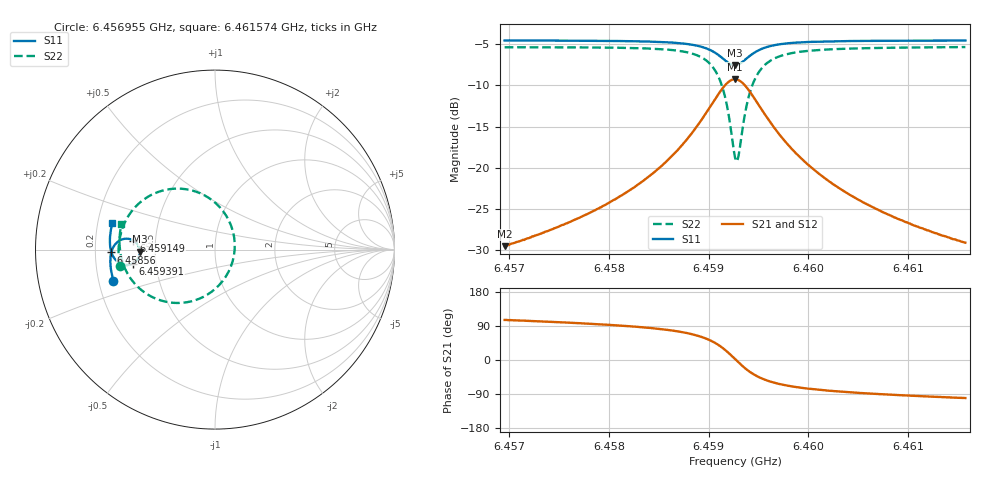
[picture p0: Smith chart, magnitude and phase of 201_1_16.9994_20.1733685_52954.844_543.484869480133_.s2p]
#  HZ  S  RI  R  50.00
! Rohde & Schwarz Vector Network Analyzer
! Rohde-Schwarz,ZNB20-2Port,1311601062101988,3.16
! Created: UTC 3/20/2024, 11:01:03 PM
! freq[Hz]  re:S11  im:S11  re:S21  im:S21  re:S12  im:S12  re:S22  im:S22
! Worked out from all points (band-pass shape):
!   401 points, 6.456955 GHz to 6.461574 GHz, reference 50 ohm
!   highest |S21| = -9.26 dB at 6.459264 GHz (marker M1); lowest = -29.5 dB at 6.456955 GHz (marker M2)
!   |S21| within 3 dB of the highest: 6.459033 GHz to 6.459495 GHz (461.8 kHz wide, 0.00715 % of centre)
!   lowest |S11| = -7.6 dB at 6.459264 GHz (marker M3), VSWR 2.44, Z = 20.5 - j0.611 ohm
!   |S11| at or under -10 dB: nowhere
!   |S22| runs from -19.2 to -5.4 dB; largest |S21 - S12| = 0.013
!   S11 on the Smith chart (normalised r, x): 6.456955 GHz: 0.26, -0.14; 6.45856 GHz: 0.27, -0.01; 6.459149 GHz: 0.37, +0.05; 6.459391 GHz: 0.37, -0.07; 6.461574 GHz: 0.26, +0.12
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6.4569546e9  -0.5656 -0.1751  -0.00901 0.0322  -0.00744 0.0323  -0.5309 -0.0897
6.4577283e9  -0.5801 -0.1076  -0.00596 0.0502  -0.00343 0.0497  -0.5371 0.000451
6.4581556e9  -0.5832 -0.0649  -7.13e-05 0.0697  0.00324 0.0683  -0.5295 0.0681
6.458502e9  -0.5797 -0.0236  0.0137 0.0985  0.0176 0.0959  -0.5048 0.146
6.4585598e9  -0.5779 -0.0157  0.0178 0.1053  0.0219 0.1025  -0.4969 0.1625
6.4587676e9  -0.565 0.0167  0.0452 0.1379  0.0493 0.133  -0.446 0.2355
6.4589177e9  -0.5425 0.0431  0.0902 0.1685  0.0935 0.162  -0.363 0.3004
6.4590563e9  -0.4988 0.0607  0.1772 0.1854  0.1782 0.178  -0.2042 0.3398
6.4591487e9  -0.4542 0.0507  0.2669 0.1546  0.2672 0.1487  -0.038 0.2903
6.459218e9  -0.4252 0.0187  0.3276 0.0832  0.3298 0.0777  0.0774 0.1617
6.4592642e9  -0.4182 -0.0123  0.3441 0.0154  0.3476 0.00844  0.1099 0.0356
6.4592757e9  -0.4186 -0.0202  0.344 -0.00229  0.3477 -0.00986  0.1096 0.00207
6.4592988e9  -0.4222 -0.0358  0.3384 -0.0369  0.3423 -0.0459  0.0987 -0.0634
6.459345e9  -0.4376 -0.0618  0.3102 -0.0966  0.3124 -0.1083  0.0418 -0.1763
6.4593912e9  -0.4596 -0.0779  0.2684 -0.1376  0.2676 -0.1506  -0.0427 -0.2508
6.4594836e9  -0.5028 -0.0849  0.1841 -0.1688  0.1781 -0.1804  -0.2101 -0.2974
6.4596337e9  -0.5465 -0.0646  0.0966 -0.1556  0.0883 -0.1617  -0.3772 -0.249
6.4597954e9  -0.5682 -0.0369  0.0519 -0.1279  0.0444 -0.1308  -0.4574 -0.1778
6.4600379e9  -0.5809 -0.00152  0.0228 -0.0965  0.017 -0.0973  -0.5056 -0.0958
6.4603727e9  -0.5855 0.0383  0.00685 -0.0708  0.00288 -0.0703  -0.5271 -0.0192
6.4608116e9  -0.5838 0.0826  -0.00119 -0.0516  -0.00406 -0.0508  -0.5322 0.0512
6.4615737e9  -0.5718 0.15  -0.00629 -0.0345  -0.00807 -0.0336  -0.5211 0.141
